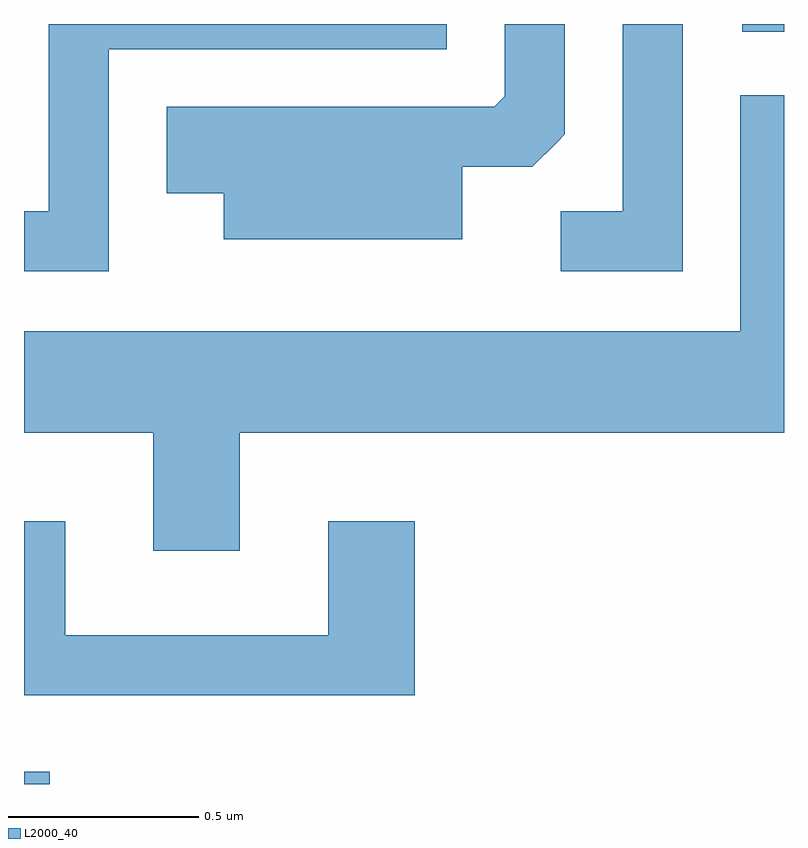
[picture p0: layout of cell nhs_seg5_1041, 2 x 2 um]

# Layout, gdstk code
import gdstk
lib = gdstk.Library(unit=1e-6, precision=1e-09)
def R(c, l, rs):  # rectangles x0, y0, x1, y1
    for r in rs: c.add(gdstk.rectangle(r[:2], r[2:], *l))
def P(c, l, *ps):  # polygons
    for p in ps: c.add(gdstk.Polygon(p, *l))
L2000_40 = (2000, 40)

nhs_seg5_1041 = lib.new_cell('nhs_seg5_1041')
R(nhs_seg5_1041, L2000_40, [(192.611,1478.072,192.679,1478.104), (194.501,1480.051,194.611,1480.072)])
P(nhs_seg5_1041, L2000_40, [(194.344,1480.072),(194.186,1480.072),(194.186,1479.579),(194.023,1479.579),(194.023,1479.421),(194.344,1479.421)],
  [(192.834,1480.006),(193.724,1480.006),(193.724,1480.072),(192.676,1480.072),(192.676,1479.579),(192.611,1479.579),(192.611,1479.421),(192.834,1479.421)],
  [(193.764,1479.696),(193.949,1479.696),(194.013,1479.76),(194.034,1479.782),(194.034,1480.072),(193.876,1480.072),(193.876,1479.882),(193.849,1479.854),(192.986,1479.854),(192.986,1479.626),(193.136,1479.626),(193.136,1479.506),(193.764,1479.506)],
  [(193.179,1478.996),(194.611,1478.996),(194.611,1479.884),(194.496,1479.884),(194.496,1479.264),(192.611,1479.264),(192.611,1478.996),(192.951,1478.996),(192.951,1478.686),(193.179,1478.686)],
  [(193.639,1478.764),(193.411,1478.764),(193.411,1478.464),(192.719,1478.464),(192.719,1478.764),(192.611,1478.764),(192.611,1478.306),(193.639,1478.306)])

lib.write_gds('nhs_seg5_1041.gds')
